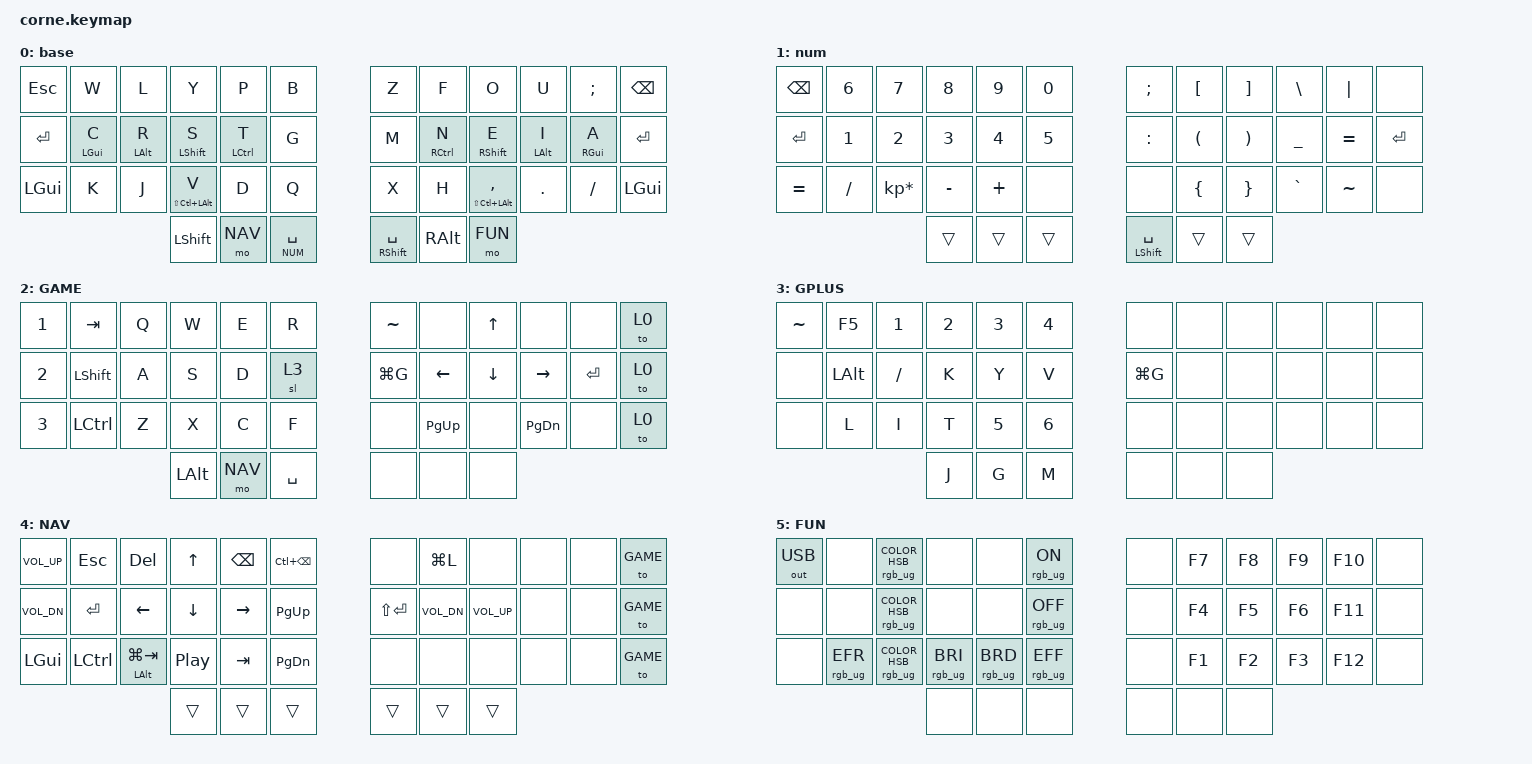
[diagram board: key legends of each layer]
#include "zmk-nodefree-config/keypos-def/keypos_42keys.h"
#include "zmk-nodefree-config/helper.h"
#include <behaviors.dtsi>
#include <dt-bindings/zmk/keys.h>
#include <dt-bindings/zmk/outputs.h>
#include <dt-bindings/zmk/rgb.h>

#define ___ &trans

#define BASE  0
#define NUM   1
#define GAME  2
#define GPLUS 3
#define NAV   4
#define FUN   5

#define KEYS_L LT0 LT1 LT2 LT3 LT4 LT5   LM0 LM1 LM2 LM3 LM4 LM5   LB0 LB1 LB2 LB3 LB4 LB5  // left hand
#define KEYS_R RT0 RT1 RT2 RT3 RT4 RT5   RM0 RM1 RM2 RM3 RM4 RM5   RB0 RB1 RB2 RB3 RB4 RB5  // right hand
#define THUMBS LH2 LH1 LH0   RH0 RH1 RH2                                                    // thumbs

#include "combos.dtsi"

// hyper key
#define HYP LS(LC(LA(LGUI)))
#define MEH LS(LC(LALT))

#define QUICK_TAP_MS 175

// sticky key aka 'one-shot mods'
&sk {
    release-after-ms = <2000>;
    quick-release;
};

// default layer-tap config
&lt {  
    flavor = "balanced";
    tapping-term-ms = <200>;
    quick-tap-ms = <QUICK_TAP_MS>;
};

#define MAKE_HRM(NAME, HOLD, TAP, TRIGGER_POS) \
    ZMK_BEHAVIOR(NAME, hold_tap, \
        flavor = "balanced"; \
        tapping-term-ms = <280>; \
        quick-tap-ms = <QUICK_TAP_MS>; \
        require-prior-idle-ms = <150>; \
        bindings = <HOLD>, <TAP>; \
        hold-trigger-key-positions = <TRIGGER_POS>; \
        hold-trigger-on-release; \
    )

MAKE_HRM(hml, &kp, &kp, KEYS_R THUMBS)  // lewostronne HRMs
MAKE_HRM(hmr, &kp, &kp, KEYS_L THUMBS)  // prawostronne HRMs

// Makro dla Timeless Layer-Tap (odpowiednik Twojego MAKE_HRM, ale dla warstw)
#define MAKE_LTL(NAME, TRIGGER_POS) \
    ZMK_BEHAVIOR(NAME, hold_tap, \
        flavor = "balanced"; \
        tapping-term-ms = <280>; \
        quick-tap-ms = <QUICK_TAP_MS>; \
        require-prior-idle-ms = <150>; \
        bindings = <&mo>, <&kp>; \
        hold-trigger-key-positions = <TRIGGER_POS>; \
        hold-trigger-on-release; \
    )

MAKE_LTL(ltl, KEYS_R THUMBS)  // warstwa na lewej ręce, triggery na prawej
MAKE_LTL(ltr, KEYS_L THUMBS)  // warstwa na prawej ręce, triggery na lewej

// default layer-tap config
&lt {  
    flavor = "balanced";
    tapping-term-ms = <200>;
    quick-tap-ms = <QUICK_TAP_MS>;
};

/ {
    keymap {
        compatible = "zmk,keymap";

        BASE {
            display-name = "base";
            bindings = <
&kp ESCAPE    &kp W         &kp L             &kp Y                 &kp P                  &kp B           &kp Z            &kp F             &kp O             &kp U             &kp SEMI         &kp BACKSPACE
&kp ENTER     &hml LGUI C   &hml LALT R       &hml LSHFT S          &hml LCTRL T           &kp G           &kp M            &hmr RCTRL N      &hmr RSHFT E      &hmr LALT I       &hmr RGUI A      &kp ENTER
&kp LEFT_GUI  &kp K         &kp J             &hml MEH V            &kp D                  &kp Q           &kp X            &kp H             &hmr MEH COMMA    &kp PERIOD        &kp SLASH        &kp LEFT_GUI
                                              &kp LSHFT             &mo NAV                &lt NUM SPACE   &mt RSHFT SPACE  &kp RALT          &mo FUN
            >;
        };

        NUM {
            display-name = "num";
            bindings = <
&kp BACKSPACE &kp N6     &kp N7           &kp N8     &kp N9    &kp N0       &kp SEMI              &kp LEFT_BRACKET      &kp RIGHT_BRACKET      &kp BACKSLASH  &kp PIPE   &none
&kp ENTER     &kp N1     &kp N2           &kp N3     &kp N4    &kp N5       &kp COLON             &kp LEFT_PARENTHESIS  &kp RIGHT_PARENTHESIS  &kp UNDER      &kp EQUAL  &kp ENTER
&kp EQUAL     &kp SLASH  &kp KP_MULTIPLY  &kp MINUS  &kp PLUS  &none        &none                 &kp LEFT_BRACE        &kp RIGHT_BRACE        &kp GRAVE      &kp TILDE  &none
                                       &trans     &trans    &trans       &mt LEFT_SHIFT SPACE  &trans                &trans
            >;
        };

        GAME {
            bindings = <
&kp N1  &kp TAB           &kp Q  &kp W     &kp E       &kp R        &kp TILDE  &none        &kp UP    &none          &none      &to 0
&kp N2  &kp LSHIFT        &kp A  &kp S     &kp D       &sl 3        &kp LG(G)  &kp LEFT     &kp DOWN  &kp RIGHT      &kp ENTER  &to 0
&kp N3  &kp LEFT_CONTROL  &kp Z  &kp X     &kp C       &kp F        &none      &kp PAGE_UP  &none     &kp PAGE_DOWN  &none      &to 0
                                 &kp LALT  &mo NAV     &kp SPACE    &none      &none        &none
            >;
        };

        GPLUS {
            bindings = <
&kp TILDE  &kp F5        &kp N1     &kp N2  &kp N3  &kp N4    &none      &none  &none  &none  &none  &none
&none      &kp LEFT_ALT  &kp SLASH  &kp K   &kp Y   &kp V     &kp LG(G)  &none  &none  &none  &none  &none
&none      &kp L         &kp I      &kp T   &kp N5  &kp N6    &none      &none  &none  &none  &none  &none
                                    &kp J   &kp G   &kp M     &none      &none  &none
            >;
        };

        NAV {
            bindings = <
&kp C_VOL_UP  &kp ESC           &kp DEL               &kp UP            &kp BACKSPACE  &kp LC(BACKSPACE)    &none          &kp LG(L)     &none         &none  &none  &to GAME
&kp C_VOL_DN  &kp ENTER         &kp LEFT              &kp DOWN          &kp RIGHT      &kp PG_UP            &kp LS(ENTER)  &kp C_VOL_DN  &kp C_VOL_UP  &none  &none  &to GAME
&kp LEFT_GUI  &kp LEFT_CONTROL  &mt LEFT_ALT LG(TAB)  &kp C_PLAY_PAUSE  &kp TAB        &kp PAGE_DOWN        &none          &none         &none         &none  &none  &to GAME
                                                      &trans             &trans          &trans               &trans  &trans         &trans
            >;
        };

        FUN {
            bindings = <
&out OUT_USB  &none            &rgb_ug RGB_COLOR_HSB(131,80,159)   &none            &none            &rgb_ug RGB_ON     &none  &kp F7  &kp F8  &kp F9  &kp F10  &none
&none         &none            &rgb_ug RGB_COLOR_HSB(255,230,199)  &none            &none            &rgb_ug RGB_OFF    &none  &kp F4  &kp F5  &kp F6  &kp F11  &none
&none         &rgb_ug RGB_EFR  &rgb_ug RGB_COLOR_HSB(128,100,10)   &rgb_ug RGB_BRI  &rgb_ug RGB_BRD  &rgb_ug RGB_EFF    &none  &kp F1  &kp F2  &kp F3  &kp F12  &none
                                                                   &none            &none            &none              &none  &none   &none
            >;
        };
    };
};
